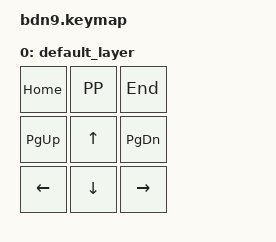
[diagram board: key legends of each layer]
/*
 * Copyright (c) 2020 The ZMK Contributors
 *
 * SPDX-License-Identifier: MIT
 */

#undef ZMK_BEHAVIORS_KEEP_ALL

#include <behaviors.dtsi>
#include <dt-bindings/zmk/keys.h>

/* Uncomment and keep whatever encoders are on your BDN9
 * &sensors {
 * status = "okay";
 * sensors = <&left_encoder &mid_encoder &right_encoder>;
 * };
 */

// Uncomment each encoder installed on your BDN9
// &left_encoder { status = "okay"; };
// &mid_encoder { status = "okay"; };
// &right_encoder { status = "okay"; };

/ {
    keymap {
        compatible = "zmk,keymap";

        default_layer {
            bindings = <&kp HOME &kp K_PP &kp END
                        &kp PG_UP &kp UP &kp PG_DN
                        &kp LEFT &kp DOWN &kp RIGHT>;
            /* Uncomment and add necessary bindings. This examples is for one encoder
             * sensor-bindings = <&inc_dec_kp PG_UP PG_DN>;
             */
        };
    };
};
